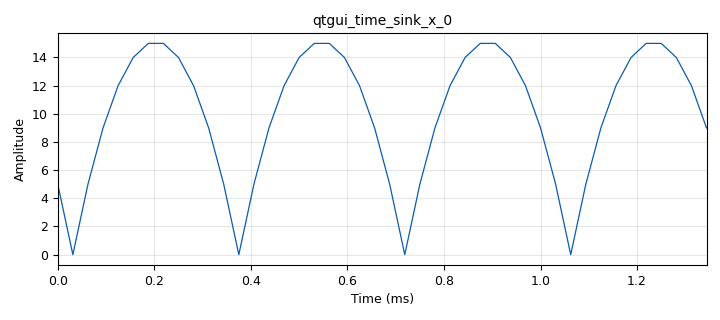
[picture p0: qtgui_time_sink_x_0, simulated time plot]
options:
  parameters:
    generate_options: qt_gui
    id: laboratorio2
    output_language: python
    title: Not titled yet
  states: {}

blocks:
- name: samp_rate
  id: variable
  parameters:
    value: '32000'
  states: {}
- name: blocks_throttle2_0
  id: blocks_throttle2
  parameters:
    samples_per_second: samp_rate
    type: float
  states: {}
- name: blocks_vector_source_x_0
  id: blocks_vector_source_x
  parameters:
    repeat: 'True'
    type: float
    vector: (5, 4, 3, 2, 1, 0, -1, -2, -3, -4, -5)
  states: {}
- name: epy_block_0
  id: epy_block
  parameters:
    _source_code: |
      """
      Embedded Python Blocks:

      Each time this file is saved, GRC will instantiate the first class it finds
      to get ports and parameters of your block. The arguments to __init__  will
      be the parameters. All of them are required to have default values!
      """

      import numpy as np
      from gnuradio import gr

      class blk(gr.sync_block):
          """Bloque Acumulador Continuo y Calculador de Estadisticas"""

          def __init__(self):
              gr.sync_block.__init__(
                  self,
                  name='e_Acum',  
                  in_sig=[np.float32],
                  out_sig=[np.float32]
              )
              self.acumulado = 0.0 
          def work(self, input_items, output_items):
              x = input_items[0]    
              y0 = output_items[0]  

              if len(x) > 0:
                  
                  y0[:] = self.acumulado + np.cumsum(x)
                  self.acumulado = y0[-1]  

                  
                  media = np.mean(x)
                  varianza = np.var(x)
                  desviacion = np.std(x)

              return len(y0)  
  states: {}
- name: qtgui_time_sink_x_0
  id: qtgui_time_sink_x
  parameters:
    autoscale: 'True'
    size: '44'
    srate: samp_rate
    type: float
  states: {}

connections:
- [blocks_throttle2_0, '0', qtgui_time_sink_x_0, '0']
- [blocks_vector_source_x_0, '0', epy_block_0, '0']
- [epy_block_0, '0', blocks_throttle2_0, '0']

metadata:
  file_format: 1
  grc_version: 3.10.9.2
